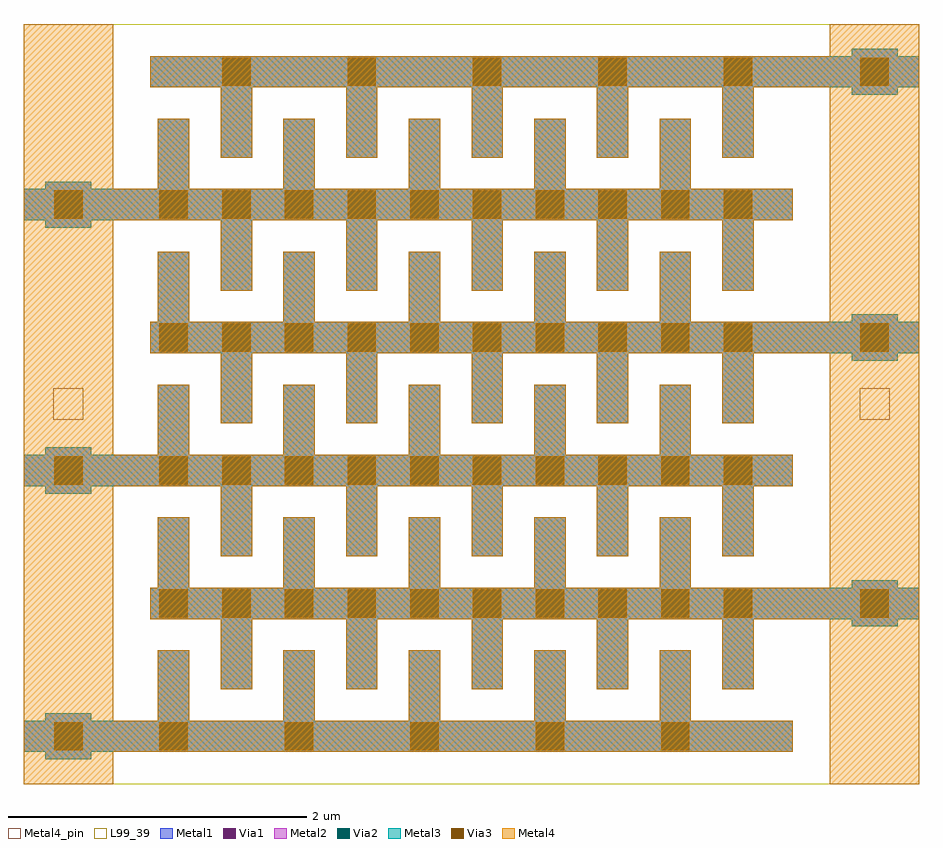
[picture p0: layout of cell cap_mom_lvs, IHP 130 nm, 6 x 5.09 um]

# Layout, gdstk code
import gdstk
lib = gdstk.Library(unit=1e-6, precision=1e-09)
def R(c, l, rs):  # rectangles x0, y0, x1, y1
    for r in rs: c.add(gdstk.rectangle(r[:2], r[2:], *l))
def A(c, l, x, y, w, h, nx, ny, dx, dy):  # array of equal rectangles
    R(c, l, [(x+i*dx, y+j*dy, x+i*dx+w, y+j*dy+h) for i in range(nx) for j in range(ny)])
Metal1 = (8, 0)
Metal2 = (10, 0)
Via1 = (19, 0)
Via2 = (29, 0)
Metal3 = (30, 0)
Via3 = (49, 0)
Metal4 = (50, 0)
Metal4_pin = (50, 2)
L99_39 = (99, 39)

cap_mom_lvs = lib.new_cell('cap_mom_lvs')
A(cap_mom_lvs, Metal1, -0.755, -0.155, 0.31, 0.31, 1, 3, 0, 1.78)
A(cap_mom_lvs, Metal1, -0.9, -0.105, 5.15, 0.21, 1, 3, 0, 1.78)
A(cap_mom_lvs, Metal1, 0, 0, 0.21, 0.575, 5, 5, 0.84, 0.89)
A(cap_mom_lvs, Metal1, 0.42, 0.315, 0.21, 0.575, 5, 5, 0.84, 0.89)
A(cap_mom_lvs, Metal1, 4.645, 0.735, 0.31, 0.31, 1, 3, 0, 1.78)
A(cap_mom_lvs, Metal1, -0.05, 0.785, 5.15, 0.21, 1, 3, 0, 1.78)
A(cap_mom_lvs, Metal2, -0.755, -0.155, 0.31, 0.31, 1, 3, 0, 1.78)
A(cap_mom_lvs, Metal2, -0.9, -0.105, 5.15, 0.21, 1, 3, 0, 1.78)
A(cap_mom_lvs, Metal2, 0, 0, 0.21, 0.575, 5, 5, 0.84, 0.89)
A(cap_mom_lvs, Metal2, 0.42, 0.315, 0.21, 0.575, 5, 5, 0.84, 0.89)
A(cap_mom_lvs, Metal2, 4.645, 0.735, 0.31, 0.31, 1, 3, 0, 1.78)
A(cap_mom_lvs, Metal2, -0.05, 0.785, 5.15, 0.21, 1, 3, 0, 1.78)
A(cap_mom_lvs, Via1, -0.695, -0.095, 0.19, 0.19, 1, 3, 0, 1.78)
A(cap_mom_lvs, Via1, 0.01, -0.095, 0.19, 0.19, 5, 1, 0.84, 0)
A(cap_mom_lvs, Via1, 0.01, 0.795, 0.19, 0.19, 10, 4, 0.42, 0.89)
A(cap_mom_lvs, Via1, 4.705, 0.795, 0.19, 0.19, 1, 3, 0, 1.78)
A(cap_mom_lvs, Via1, 0.43, 4.355, 0.19, 0.19, 5, 1, 0.84, 0)
A(cap_mom_lvs, Via2, -0.695, -0.095, 0.19, 0.19, 1, 3, 0, 1.78)
A(cap_mom_lvs, Via2, 0.01, -0.095, 0.19, 0.19, 5, 1, 0.84, 0)
A(cap_mom_lvs, Via2, 0.01, 0.795, 0.19, 0.19, 10, 4, 0.42, 0.89)
A(cap_mom_lvs, Via2, 4.705, 0.795, 0.19, 0.19, 1, 3, 0, 1.78)
A(cap_mom_lvs, Via2, 0.43, 4.355, 0.19, 0.19, 5, 1, 0.84, 0)
A(cap_mom_lvs, Metal3, -0.755, -0.155, 0.31, 0.31, 1, 3, 0, 1.78)
A(cap_mom_lvs, Metal3, -0.9, -0.105, 5.15, 0.21, 1, 3, 0, 1.78)
A(cap_mom_lvs, Metal3, 0, 0, 0.21, 0.575, 5, 5, 0.84, 0.89)
A(cap_mom_lvs, Metal3, 0.42, 0.315, 0.21, 0.575, 5, 5, 0.84, 0.89)
A(cap_mom_lvs, Metal3, 4.645, 0.735, 0.31, 0.31, 1, 3, 0, 1.78)
A(cap_mom_lvs, Metal3, -0.05, 0.785, 5.15, 0.21, 1, 3, 0, 1.78)
A(cap_mom_lvs, Via3, -0.695, -0.095, 0.19, 0.19, 1, 3, 0, 1.78)
A(cap_mom_lvs, Via3, 0.01, -0.095, 0.19, 0.19, 5, 1, 0.84, 0)
A(cap_mom_lvs, Via3, 0.01, 0.795, 0.19, 0.19, 10, 4, 0.42, 0.89)
A(cap_mom_lvs, Via3, 4.705, 0.795, 0.19, 0.19, 1, 3, 0, 1.78)
A(cap_mom_lvs, Via3, 0.43, 4.355, 0.19, 0.19, 5, 1, 0.84, 0)
A(cap_mom_lvs, Metal4, -0.9, -0.105, 5.15, 0.21, 1, 3, 0, 1.78)
A(cap_mom_lvs, Metal4, 0, 0, 0.21, 0.575, 5, 5, 0.84, 0.89)
A(cap_mom_lvs, Metal4, 0.42, 0.315, 0.21, 0.575, 5, 5, 0.84, 0.89)
A(cap_mom_lvs, Metal4, -0.05, 0.785, 5.15, 0.21, 1, 3, 0, 1.78)
R(cap_mom_lvs, Metal4, [(-0.9,-0.32,-0.3,4.77), (4.5,-0.32,5.1,4.77)])
R(cap_mom_lvs, Metal4_pin, [(-0.7,2.12,-0.5,2.33), (4.7,2.12,4.9,2.33)])
R(cap_mom_lvs, L99_39, [(-0.9,-0.32,5.1,4.77)])
cap_mom_lvs.add(gdstk.Label('cap_mom C=16.298fF', (-0.9,-0.82), layer=63, texttype=0))

lib.write_gds('cap_mom_lvs.gds')
